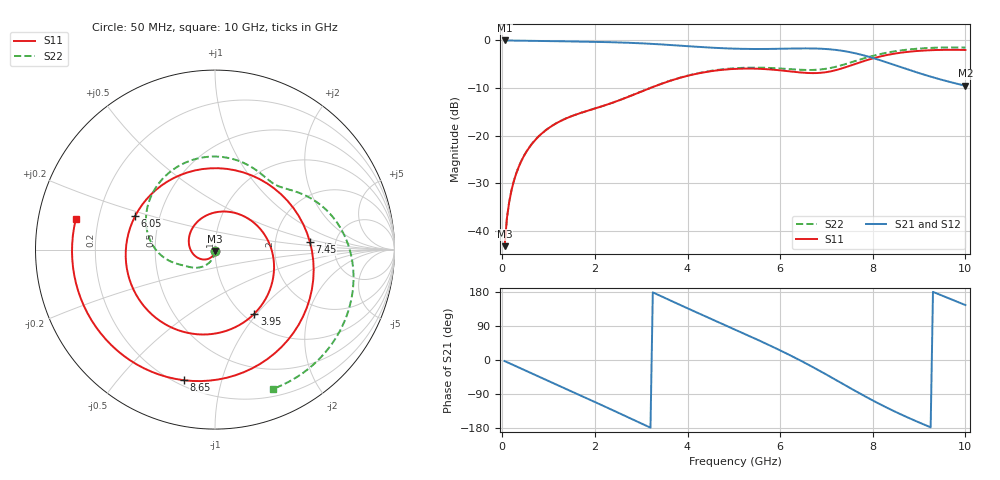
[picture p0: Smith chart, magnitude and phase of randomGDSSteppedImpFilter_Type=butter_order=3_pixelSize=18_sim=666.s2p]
! freq	dB(S11)	phase(S11)	dB(S12)	phase(S12)
!  dB(S21)	phase(S21)	dB(S22)	phase(S22)
!S-par simulation data
#  GHz  S  DB  R 50
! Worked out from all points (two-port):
!   200 points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, 50 MHz to 10 GHz, reference 50 ohm
!   highest |S21| = -0.01 dB at 50 MHz (marker M1); lowest = -9.5 dB at 10 GHz (marker M2)
!   |S21| within 3 dB of the highest: start of sweep to 7.753 GHz
!   lowest |S11| = -43.2 dB at 50 MHz (marker M3), VSWR 1.01, Z = 50 - j0.691 ohm
!   |S11| at or under -10 dB: start of sweep to 3.194 GHz
!   |S22| runs from -43.2 to -1.5 dB; largest |S21 - S12| = 0
!   S11 on the Smith chart (normalised r, x): 50 MHz: 1.00, -0.01; 3.95 GHz: 1.12, -0.97; 6.05 GHz: 0.36, +0.18; 7.45 GHz: 3.21, +0.39; 8.65 GHz: 0.23, -0.76; 10 GHz: 0.12, +0.11
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0.05  -43.21 -91.7  -0.01 -2.8  -0.01 -2.8  -43.18 -90.2
0.1  -37.34 -96.0  -0.01 -5.6  -0.01 -5.6  -37.30 -92.5
0.2  -31.42 -104.1  -0.02 -11.2  -0.02 -11.2  -31.39 -97.1
0.5  -23.71 -127.0  -0.06 -27.8  -0.06 -27.8  -23.67 -109.3
1.15  -17.49 -177.1  -0.16 -63.7  -0.16 -63.7  -17.47 -131.8
1.75  -15.05 131.9  -0.25 -96.9  -0.25 -96.9  -15.04 -147.3
2.2  -13.68 90.0  -0.34 -122.0  -0.34 -122.0  -13.67 -155.6
2.65  -12.11 47.3  -0.46 -147.4  -0.46 -147.4  -12.10 -163.7
3.4  -9.24 -17.5  -0.82 170.0  -0.82 170.0  -9.21 176.4
3.95  -7.56 -58.4  -1.17 139.2  -1.17 139.2  -7.51 156.0
4.5  -6.47 -95.3  -1.51 108.9  -1.51 108.9  -6.39 132.9
5.05  -5.97 -130.8  -1.74 78.9  -1.74 78.9  -5.82 109.0
5.6  -5.98 -168.0  -1.80 48.5  -1.80 48.5  -5.72 85.7
6.05  -6.33 157.2  -1.74 22.4  -1.74 22.4  -5.92 68.6
6.7  -6.86 93.2  -1.68 -18.3  -1.68 -18.3  -6.20 50.0
7.05  -6.57 51.9  -1.85 -42.0  -1.85 -42.0  -5.85 42.7
7.45  -5.51 4.7  -2.36 -69.7  -2.36 -69.7  -4.85 33.1
7.85  -4.21 -37.2  -3.26 -97.0  -3.26 -97.0  -3.65 19.8
8.35  -2.98 -80.8  -4.77 -128.5  -4.77 -128.5  -2.49 -0.1
8.65  -2.52 -103.4  -5.75 -145.9  -5.75 -145.9  -2.04 -12.6
9.35  -2.02 -150.2  -7.89 177.3  -7.89 177.3  -1.53 -41.1
10  -2.01 167.6  -9.52 145.0  -9.52 145.0  -1.51 -67.2
